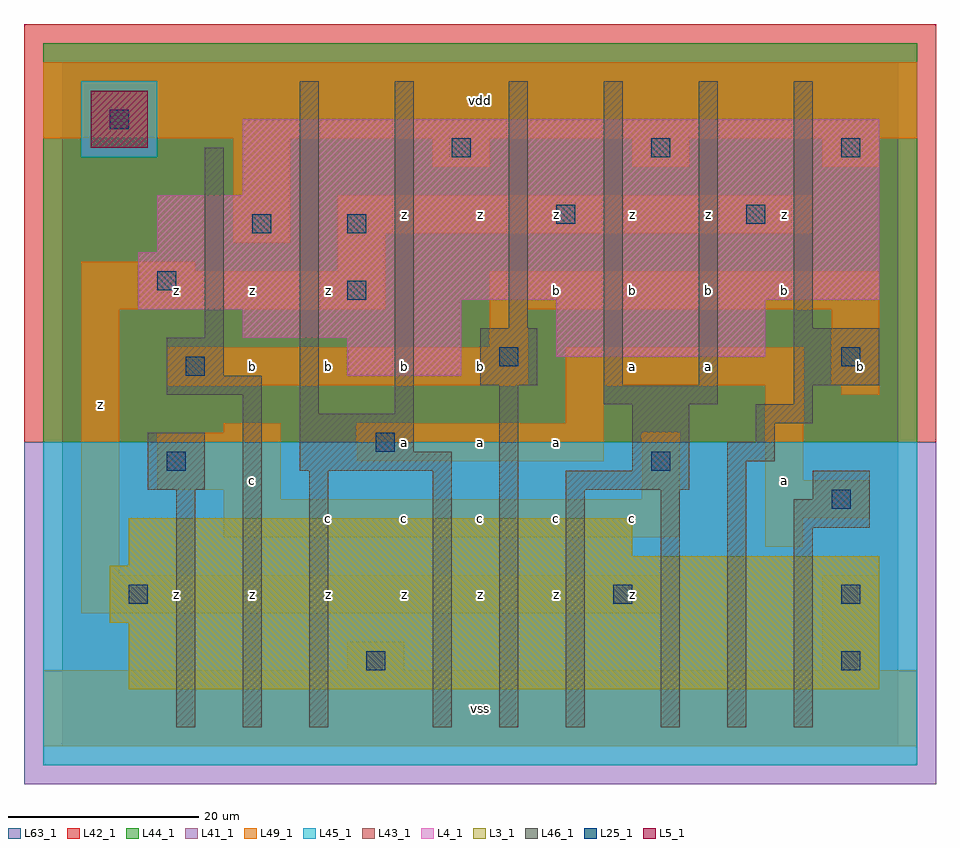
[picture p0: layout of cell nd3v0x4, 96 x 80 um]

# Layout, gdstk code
import gdstk
lib = gdstk.Library(unit=1e-6, precision=1e-09)
def R(c, l, rs):  # rectangles x0, y0, x1, y1
    for r in rs: c.add(gdstk.rectangle(r[:2], r[2:], *l))
L3_1 = (3, 1)
L4_1 = (4, 1)
L5_1 = (5, 1)
L25_1 = (25, 1)
L41_1 = (41, 1)
L42_1 = (42, 1)
L43_1 = (43, 1)
L44_1 = (44, 1)
L45_1 = (45, 1)
L46_1 = (46, 1)
L49_1 = (49, 1)
L63_1 = (63, 1)

nd3v0x4 = lib.new_cell('nd3v0x4')
R(nd3v0x4, L3_1, [(7,6,86,13), (5,13,86,19), (7,19,86,20), (7,20,60,24)])
R(nd3v0x4, L4_1, [(30,39,42,43), (52,41,74,47), (19,43,42,46), (8,46,42,47), (8,47,86,52), (10,52,86,58), (19,58,86,66)])
R(nd3v0x4, L5_1, [(3,63,9,69)])
R(nd3v0x4, L25_1, [(32,8,34,10), (82,8,84,10), (7,15,9,17), (58,15,60,17), (82,15,84,17), (81,25,83,27), (11,29,13,31), (62,29,64,31), (33,31,35,33), (13,39,15,41), (46,40,48,42), (82,40,84,42), (30,47,32,49), (10,48,12,50), (20,54,22,56), (30,54,32,56), (52,55,54,57), (72,55,74,57), (41,62,43,64), (62,62,64,64), (82,62,84,64), (5,65,7,67)])
R(nd3v0x4, L41_1, [(-4,-4,92,32)])
R(nd3v0x4, L42_1, [(-4,32,92,76)])
R(nd3v0x4, L43_1, [(7,6,86,13), (5,13,86,19), (7,19,86,20), (7,20,60,24), (30,39,42,43), (52,41,74,47), (19,43,42,46), (8,46,42,47), (8,47,86,52), (10,52,86,58), (19,58,86,66), (3,63,9,69)])
R(nd3v0x4, L44_1, [(-2,32,90,62), (-2,62,2,70), (10,62,90,70), (-2,70,90,74)])
R(nd3v0x4, L45_1, [(-2,-2,90,32), (2,62,10,70)])
R(nd3v0x4, L46_1, [(12,2,14,27), (19,2,21,37), (26,2,28,29), (39,2,41,29), (46,2,48,38), (53,2,55,27), (63,2,65,27), (70,2,72,30), (77,2,79,23), (77,23,85,26), (79,26,85,29), (9,27,15,33), (53,27,66,29), (25,29,41,31), (60,29,66,36), (70,30,75,32), (25,31,37,35), (73,32,75,34), (73,34,79,36), (25,35,27,70), (35,35,37,70), (57,36,69,38), (77,36,79,38), (11,37,21,39), (44,38,50,44), (57,38,59,70), (67,38,69,70), (77,38,86,44), (11,39,17,43), (15,43,17,63), (47,44,49,70), (77,44,79,70)])
R(nd3v0x4, L49_1, [(-2,0,90,8), (30,8,36,11), (80,8,86,18), (2,14,63,18), (2,18,6,46), (74,21,78,24), (17,22,65,26), (74,24,85,28), (17,26,23,27), (61,26,65,33), (10,27,23,33), (74,28,78,38), (31,30,57,34), (17,33,23,34), (53,34,57,38), (82,37,86,38), (11,38,49,42), (53,38,78,42), (81,38,86,46), (45,42,49,46), (2,46,34,50), (45,46,86,50), (2,50,14,51), (29,50,34,54), (18,53,24,64), (29,54,79,58), (39,61,45,64), (60,61,66,64), (80,61,86,64), (-2,64,90,72)])
R(nd3v0x4, L63_1, [(0,0,88,72)])
nd3v0x4.add(gdstk.Label('z', (12,16), layer=49, texttype=1))
nd3v0x4.add(gdstk.Label('z', (4,36), layer=49, texttype=1))
nd3v0x4.add(gdstk.Label('z', (12,48), layer=49, texttype=1))
nd3v0x4.add(gdstk.Label('z', (20,16), layer=49, texttype=1))
nd3v0x4.add(gdstk.Label('z', (28,16), layer=49, texttype=1))
nd3v0x4.add(gdstk.Label('c', (28,24), layer=49, texttype=1))
nd3v0x4.add(gdstk.Label('c', (20,28), layer=49, texttype=1))
nd3v0x4.add(gdstk.Label('b', (20,40), layer=49, texttype=1))
nd3v0x4.add(gdstk.Label('b', (28,40), layer=49, texttype=1))
nd3v0x4.add(gdstk.Label('z', (20,48), layer=49, texttype=1))
nd3v0x4.add(gdstk.Label('z', (28,48), layer=49, texttype=1))
nd3v0x4.add(gdstk.Label('vss', (44,4), layer=49, texttype=1))
nd3v0x4.add(gdstk.Label('z', (44,16), layer=49, texttype=1))
nd3v0x4.add(gdstk.Label('z', (36,16), layer=49, texttype=1))
nd3v0x4.add(gdstk.Label('c', (36,24), layer=49, texttype=1))
nd3v0x4.add(gdstk.Label('c', (44,24), layer=49, texttype=1))
nd3v0x4.add(gdstk.Label('a', (44,32), layer=49, texttype=1))
nd3v0x4.add(gdstk.Label('a', (36,32), layer=49, texttype=1))
nd3v0x4.add(gdstk.Label('b', (36,40), layer=49, texttype=1))
nd3v0x4.add(gdstk.Label('b', (44,40), layer=49, texttype=1))
nd3v0x4.add(gdstk.Label('z', (44,56), layer=49, texttype=1))
nd3v0x4.add(gdstk.Label('z', (36,56), layer=49, texttype=1))
nd3v0x4.add(gdstk.Label('vdd', (44,68), layer=49, texttype=1))
nd3v0x4.add(gdstk.Label('z', (60,16), layer=49, texttype=1))
nd3v0x4.add(gdstk.Label('z', (52,16), layer=49, texttype=1))
nd3v0x4.add(gdstk.Label('c', (52,24), layer=49, texttype=1))
nd3v0x4.add(gdstk.Label('c', (60,24), layer=49, texttype=1))
nd3v0x4.add(gdstk.Label('a', (52,32), layer=49, texttype=1))
nd3v0x4.add(gdstk.Label('a', (60,40), layer=49, texttype=1))
nd3v0x4.add(gdstk.Label('a', (68,40), layer=49, texttype=1))
nd3v0x4.add(gdstk.Label('b', (52,48), layer=49, texttype=1))
nd3v0x4.add(gdstk.Label('b', (60,48), layer=49, texttype=1))
nd3v0x4.add(gdstk.Label('b', (68,48), layer=49, texttype=1))
nd3v0x4.add(gdstk.Label('z', (60,56), layer=49, texttype=1))
nd3v0x4.add(gdstk.Label('z', (68,56), layer=49, texttype=1))
nd3v0x4.add(gdstk.Label('z', (52,56), layer=49, texttype=1))
nd3v0x4.add(gdstk.Label('a', (76,28), layer=49, texttype=1))
nd3v0x4.add(gdstk.Label('b', (84,40), layer=49, texttype=1))
nd3v0x4.add(gdstk.Label('b', (76,48), layer=49, texttype=1))
nd3v0x4.add(gdstk.Label('z', (76,56), layer=49, texttype=1))

lib.write_gds('nd3v0x4.gds')
